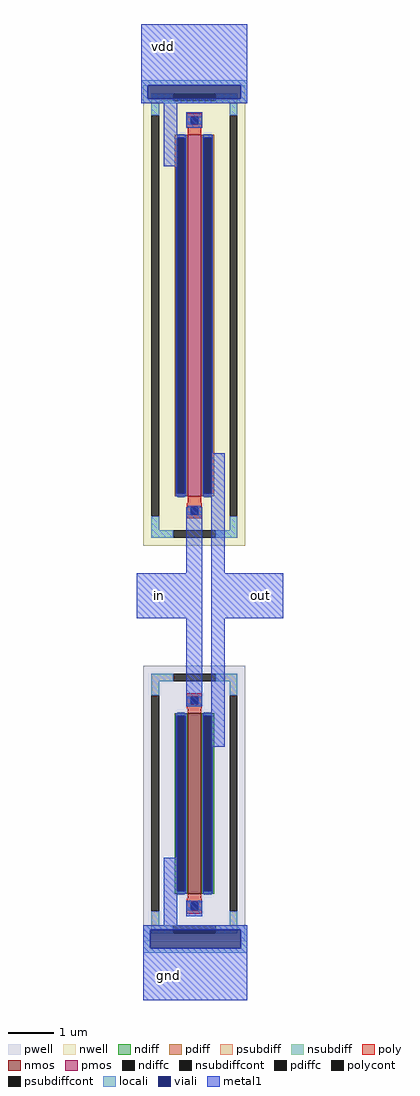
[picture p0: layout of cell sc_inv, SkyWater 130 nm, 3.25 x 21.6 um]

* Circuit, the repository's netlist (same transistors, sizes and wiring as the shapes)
* NGSPICE file created from sc_inv.ext - technology: sky130A

.subckt sky130_fd_pr__nfet_01v8_SALWK2 a_n88_n400# a_n33_n488# a_n190_n574# a_30_n400#
X0 a_30_n400# a_n33_n488# a_n88_n400# a_n190_n574# sky130_fd_pr__nfet_01v8 ad=1.16 pd=8.58 as=1.16 ps=8.58 w=4 l=0.3
.ends

.subckt sky130_fd_pr__pfet_01v8_SKDPWJ a_30_n800# a_n33_n897# w_n226_n1019# a_n88_n800#
X0 a_30_n800# a_n33_n897# a_n88_n800# w_n226_n1019# sky130_fd_pr__pfet_01v8 ad=2.32 pd=16.58 as=2.32 ps=16.58 w=8 l=0.3
.ends

.subckt sc_inv vdd in out gnd
XXM1 gnd in gnd out sky130_fd_pr__nfet_01v8_SALWK2
XXM2 out in vdd vdd sky130_fd_pr__pfet_01v8_SKDPWJ
.ends

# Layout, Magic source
magic
tech sky130A
magscale 1 2
<< locali >>
rect 1120 1500 1590 1520
rect 1120 1440 1150 1500
rect 1560 1440 1590 1500
rect 1120 1420 1590 1440
rect 1130 -2240 1590 -2220
rect 1130 -2320 1160 -2240
rect 1560 -2320 1590 -2240
rect 1130 -2340 1590 -2320
<< viali >>
rect 1150 1440 1560 1500
rect 1160 -2320 1560 -2240
<< metal1 >>
rect 1120 1500 1590 1770
rect 1120 1440 1150 1500
rect 1560 1440 1590 1500
rect 1120 1420 1590 1440
rect 1220 1140 1280 1420
rect 1320 1310 1390 1380
rect 1320 -660 1390 -370
rect 1100 -860 1390 -660
rect 1320 -1250 1390 -860
rect 1430 -660 1490 -130
rect 1430 -860 1750 -660
rect 1430 -1430 1490 -860
rect 1220 -2220 1280 -1920
rect 1320 -2180 1390 -2110
rect 1130 -2240 1590 -2220
rect 1130 -2320 1160 -2240
rect 1560 -2320 1590 -2240
rect 1130 -2550 1590 -2320
use sky130_fd_pr__nfet_01v8_SALWK2  XM1
transform 1 0 1356 0 1 -1680
box -226 -610 226 610
use sky130_fd_pr__pfet_01v8_SKDPWJ  XM2
transform 1 0 1356 0 1 479
box -226 -1019 226 1019
<< labels >>
flabel metal1 1100 -860 1300 -660 0 FreeSans 256 0 0 0 in
port 1 nsew
flabel metal1 1120 1570 1320 1770 0 FreeSans 256 0 0 0 vdd
port 0 nsew
flabel metal1 1140 -2540 1340 -2340 0 FreeSans 256 0 0 0 gnd
port 3 nsew
flabel metal1 1550 -860 1750 -660 0 FreeSans 256 0 0 0 out
port 2 nsew
<< end >>

# cell sky130_fd_pr__nfet_01v8_SALWK2: kit device sky130_fd_pr__nfet_01v8, w 4.0 l 0.3 m 1 nf 1 diffcov 100 polycov 100 guard 1 glc 1 grc 1 gtc 1 gbc 1 tbcov 100 rlcov 100 topc 1 botc 1 poverlap 0 doverlap 1 lmin 0.15 wmin 0.42 compatible {sky130_fd_pr__nfet_01v8 sky130_fd_pr__nfet_01v8_lvt sky130_fd_bs_flash__special_sonosfet_star sky130_fd_pr__nfet_g5v0d10v5 sky130_fd_pr__nfet_05v0_nvt sky130_fd_pr__nfet_03v3_nvt} full_metal 1 viasrc 100 viadrn 100 viagate 100 viagb 0 viagr 0 viagl 0 viagt 0

# cell sky130_fd_pr__pfet_01v8_SKDPWJ: kit device sky130_fd_pr__pfet_01v8, w 8.0 l 0.3 m 1 nf 1 diffcov 100 polycov 100 guard 1 glc 1 grc 1 gtc 1 gbc 1 tbcov 100 rlcov 100 topc 1 botc 1 poverlap 0 doverlap 1 lmin 0.15 wmin 0.42 compatible {sky130_fd_pr__pfet_01v8 sky130_fd_pr__pfet_01v8_lvt sky130_fd_pr__pfet_01v8_hvt sky130_fd_pr__pfet_g5v0d10v5} full_metal 1 viasrc 100 viadrn 100 viagate 100 viagb 0 viagr 0 viagl 0 viagt 0
